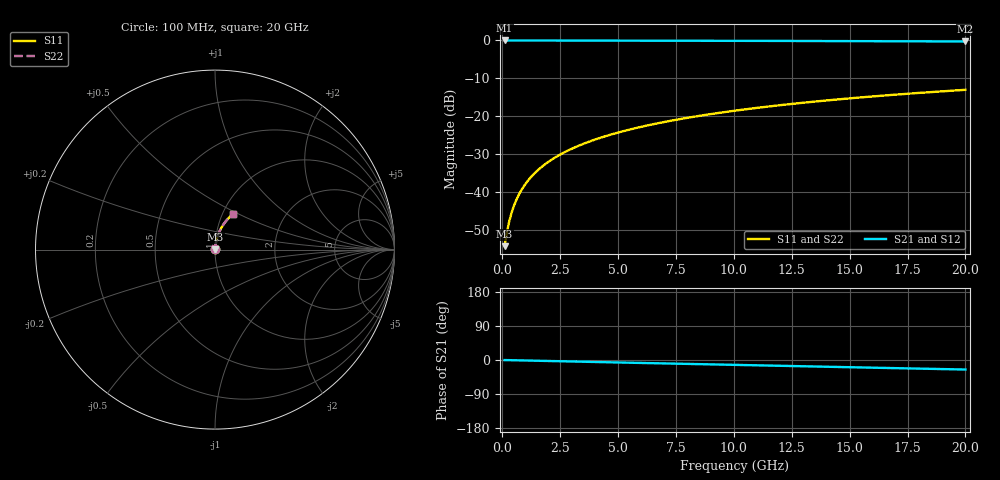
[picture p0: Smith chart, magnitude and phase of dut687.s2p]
! Touchstone file exported from HFSS 2026.1.0
!  File:  C:/ffzhzh/LocalFiles/Ansys_Project_Files/temp_train_BSMRDL_687_1783017627_55676.aedt
!  Generated:  02:41:52 AM Jul  3, 2026
!  Design:  BSMRDL
!  Project:  temp_train_BSMRDL_687_1783017627_55676
! Variables:
!  h_bsmrdl = 5.04um
!  h_ox = 20um
!  h_rdl = 5um
!  h_sub = 80um
!  h_tmrdl = 5um
!  h_tsv = 80um
!  h_via = 3um
!  l_bsmrdl = 359.73um
!  l_sub = 759.73um
!  l_tmrdl = 200um
!  m_sub = 200um
!  pitch = 44.32um
!  r_tsv = 6um
!  s_tmrdl = 10um
!  w_bsmrdl = 21.5um
!  w_sub = 500um
!  w_tmrdl = 12um
!  x_tsv_center1 = 206um
!  x_tsv_center2 = 587.23um
!  x_tsv_center3 = 799.23um
!  x_tsv_center4 = 1180.46um
!  x_tsv_center5 = 1392.46um
!  x_tsv_center6 = 1773.69um
# GHz S MA R 50.000000
! Terminal data exported
! Port[1] = BSM_RDL1_1_T1
! Port[2] = BSM_RDL1_1_T2
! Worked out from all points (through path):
!   200 points, 100 MHz to 20 GHz, reference 50 ohm
!   highest |S21| = -0.01 dB at 100 MHz (marker M1); lowest = -0.3 dB at 20 GHz (marker M2)
!   group delay of S21, straight-line fit = 3.49 ps
!   lowest |S11| = -54.4 dB at 100 MHz (marker M3), VSWR 1.00, Z = 50.1 + j0.136 ohm
!   |S11| at or under -10 dB: start of sweep to end of sweep
!   |S22| runs from -54.4 to -13.1 dB; largest |S21 - S12| = 2.2e-15
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0.1  0.001908 45.4  0.9987 -0.1  0.9987 -0.1  0.001908 45.4
! Gamma 0 0 0 0
! Port Impedance 50 0 50 0
0.2  0.002921 61.7  0.9986 -0.3  0.9986 -0.3  0.002925 61.6
0.3  0.004066 69.6  0.9985 -0.4  0.9985 -0.4  0.004068 69.5
0.4  0.005262 74.0  0.9984 -0.5  0.9984 -0.5  0.005263 73.9
0.5  0.006482 76.7  0.9984 -0.7  0.9984 -0.7  0.006482 76.6
0.6  0.007713 78.4  0.9983 -0.8  0.9983 -0.8  0.007712 78.3
0.8  0.01019 80.5  0.9983 -1.1  0.9983 -1.1  0.01019 80.4
1.1  0.01391 81.9  0.9981 -1.5  0.9981 -1.5  0.0139 81.9
1.3  0.01638 82.4  0.998 -1.7  0.998 -1.7  0.01638 82.4
1.5  0.01885 82.6  0.9979 -2.0  0.9979 -2.0  0.01884 82.6
1.8  0.02252 82.7  0.9977 -2.4  0.9977 -2.4  0.02252 82.7
2.1  0.02618 82.7  0.9975 -2.8  0.9975 -2.8  0.02617 82.7
2.7  0.03342 82.4  0.9971 -3.6  0.9971 -3.6  0.03342 82.4
3.5  0.04296 81.7  0.9963 -4.6  0.9963 -4.6  0.04295 81.7
4.2  0.05121 81.0  0.9956 -5.5  0.9956 -5.5  0.05121 81.0
5  0.06056 80.2  0.9947 -6.5  0.9947 -6.5  0.06056 80.2
6.8  0.08132 78.3  0.9925 -8.8  0.9925 -8.8  0.08132 78.3
8.3  0.09835 76.6  0.9905 -10.7  0.9905 -10.7  0.09835 76.6
10.1  0.1185 74.5  0.9878 -13.0  0.9878 -13.0  0.1185 74.5
13.4  0.1545 70.7  0.9821 -17.1  0.9821 -17.1  0.1545 70.7
16.7  0.1892 66.9  0.9754 -21.1  0.9754 -21.1  0.1892 66.9
20  0.2223 63.0  0.9679 -25.1  0.9679 -25.1  0.2223 63.0
